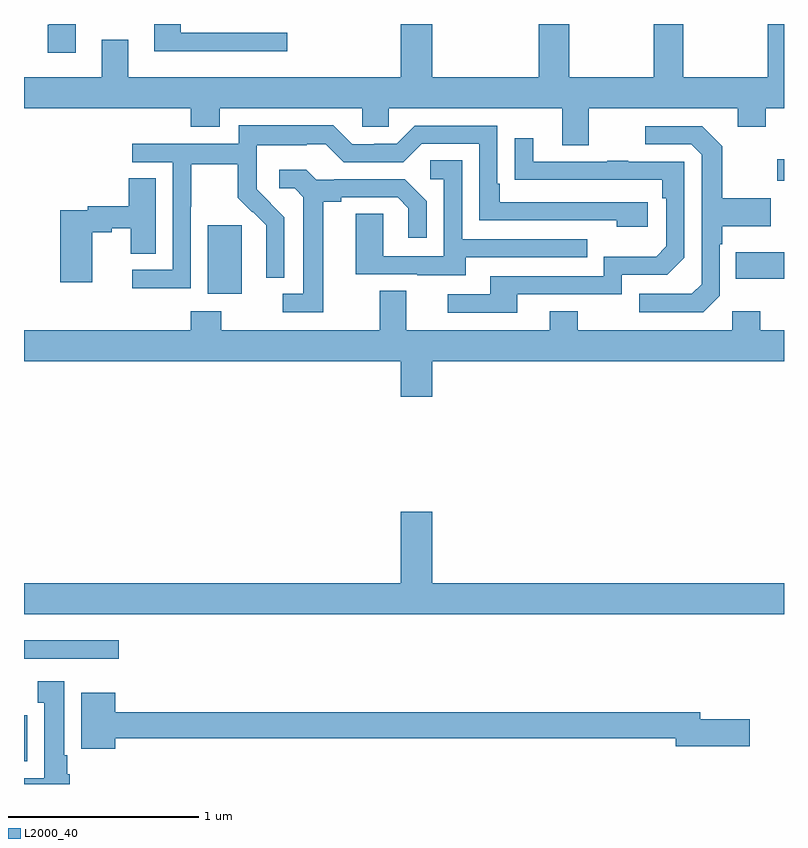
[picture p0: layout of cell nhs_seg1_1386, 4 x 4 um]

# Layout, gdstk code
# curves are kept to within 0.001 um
import gdstk
lib = gdstk.Library(unit=1e-6, precision=1e-09)
def R(c, l, rs):  # rectangles x0, y0, x1, y1
    for r in rs: c.add(gdstk.rectangle(r[:2], r[2:], *l))
def P(c, l, *ps):  # polygons
    for p in ps: c.add(gdstk.Polygon(p, *l))
L2000_40 = (2000, 40)

nhs_seg1_1386 = lib.new_cell('nhs_seg1_1386')
R(nhs_seg1_1386, L2000_40, [(187,524.318,187.018,524.56), (187,524.859,187.498,524.956), (187.967,526.778,188.146,527.139), (190.747,526.859,191,526.999), (190.965,527.375,191,527.488)])
P(nhs_seg1_1386, L2000_40, [(188.386,528.153),(187.825,528.153),(187.825,528.199),(187.685,528.199),(187.685,528.056),(188.386,528.056)],
  [(187.273,528.199),(187.133,528.199),(187.133,528.195),(187.126,528.195),(187.126,528.048),(187.273,528.048)],
  [(189.973,527.756),(190.757,527.756),(190.757,527.657),(190.905,527.657),(190.905,527.756),(191,527.756),(191,528.199),(190.915,528.199),(190.915,527.92),(190.47,527.92),(190.47,528.199),(190.315,528.199),(190.315,527.92),(189.87,527.92),(189.87,528.199),(189.71,528.199),(189.71,527.92),(189.148,527.92),(189.148,528.199),(188.984,528.199),(188.984,527.92),(187.549,527.92),(187.549,528.115),(187.409,528.115),(187.409,527.92),(187,527.92),(187,527.756),(187.877,527.756),(187.877,527.657),(188.029,527.657),(188.029,527.756),(188.781,527.756),(188.781,527.658),(188.919,527.658),(188.919,527.756),(189.833,527.756),(189.833,527.562),(189.973,527.562)],
  [(187.878,527.236),(187.881,527.236),(187.881,527.46),(188.125,527.46),(188.125,527.285),(188.202,527.208),(188.205,527.211),(188.276,527.141),(188.276,527.018),(188.274,527.018),(188.274,526.864),(188.37,526.864),(188.37,527.182),(188.224,527.33),(188.224,527.427),(188.226,527.427),(188.226,527.561),(188.489,527.561),(188.489,527.565),(188.589,527.565),(188.682,527.472),(188.997,527.472),(189.093,527.568),(189.396,527.568),(189.396,527.166),(190.121,527.166),(190.121,527.132),(190.282,527.132),(190.282,527.262),(189.505,527.262),(189.505,527.359),(189.492,527.359),(189.492,527.664),(189.057,527.664),(188.961,527.568),(188.843,527.568),(188.843,527.565),(188.727,527.565),(188.627,527.665),(188.13,527.665),(188.13,527.568),(187.569,527.568),(187.569,527.472),(187.782,527.472),(187.782,526.905),(187.569,526.905),(187.569,526.807),(187.878,526.807)],
  [(190.662,526.77),(190.662,527.039),(190.675,527.039),(190.675,527.135),(190.931,527.135),(190.931,527.283),(190.675,527.283),(190.675,527.555),(190.569,527.661),(190.269,527.661),(190.269,527.565),(190.512,527.565),(190.566,527.511),(190.566,526.83),(190.515,526.779),(190.239,526.779),(190.239,526.683),(190.575,526.683)],
  [(189.595,526.776),(190.146,526.776),(190.146,526.878),(190.386,526.878),(190.476,526.968),(190.476,527.475),(190.181,527.475),(190.181,527.48),(190.069,527.48),(190.069,527.475),(189.679,527.475),(189.679,527.599),(189.583,527.599),(189.583,527.38),(190.36,527.379),(190.36,527.282),(190.38,527.282),(190.38,527.028),(190.327,526.975),(190.05,526.975),(190.05,526.872),(189.455,526.872),(189.455,526.776),(189.231,526.776),(189.231,526.68),(189.595,526.68)],
  [(189.325,526.971),(189.965,526.971),(189.965,527.067),(189.306,527.067),(189.306,527.483),(189.138,527.483),(189.138,527.382),(189.21,527.382),(189.21,526.977),(188.892,526.977),(188.892,527.201),(188.747,527.201),(188.747,526.881),(189.071,526.881),(189.071,526.877),(189.325,526.877)],
  [(188.575,527.264),(188.671,527.264),(188.671,527.286),(188.966,527.286),(189.023,527.229),(189.023,527.073),(189.12,527.073),(189.12,527.266),(189.004,527.382),(188.632,527.382),(188.632,527.379),(188.538,527.379),(188.486,527.431),(188.343,527.431),(188.343,527.334),(188.424,527.334),(188.471,527.287),(188.471,526.779),(188.361,526.779),(188.361,526.683),(188.575,526.683)],
  [(187.36,527.104),(187.461,527.104),(187.461,527.123),(187.562,527.123),(187.562,526.99),(187.693,526.99),(187.693,527.387),(187.55,527.387),(187.55,527.24),(187.336,527.24),(187.336,527.22),(187.19,527.22),(187.19,526.839),(187.36,526.839)],
  [(188.873,526.796),(188.873,526.588),(188.037,526.588),(188.037,526.687),(187.877,526.687),(187.877,526.588),(187,526.588),(187,526.424),(188.984,526.424),(188.984,526.236),(189.148,526.236),(189.148,526.424),(191,526.424),(191,526.588),(190.875,526.588),(190.875,526.687),(190.728,526.687),(190.728,526.588),(189.915,526.588),(189.915,526.687),(189.767,526.687),(189.767,526.588),(189.013,526.588),(189.013,526.796)],
  [(191,525.256),(189.148,525.256),(189.148,525.631),(188.984,525.631),(188.984,525.256),(187,525.256),(187,525.092),(191,525.092)],
  [(187.24,524.25),(187.228,524.25),(187.228,524.35),(187.213,524.35),(187.213,524.74),(187.073,524.74),(187.073,524.627),(187.106,524.627),(187.106,524.23),(187,524.23),(187,524.199),(187.24,524.199)],
  [(187.48,524.44),(190.43,524.44),(190.43,524.398),(190.819,524.398),(190.819,524.54),(190.558,524.54),(190.558,524.576),(187.48,524.576),(187.48,524.68),(187.301,524.68),(187.301,524.384),(187.48,524.384)])

lib.write_gds('nhs_seg1_1386.gds')
